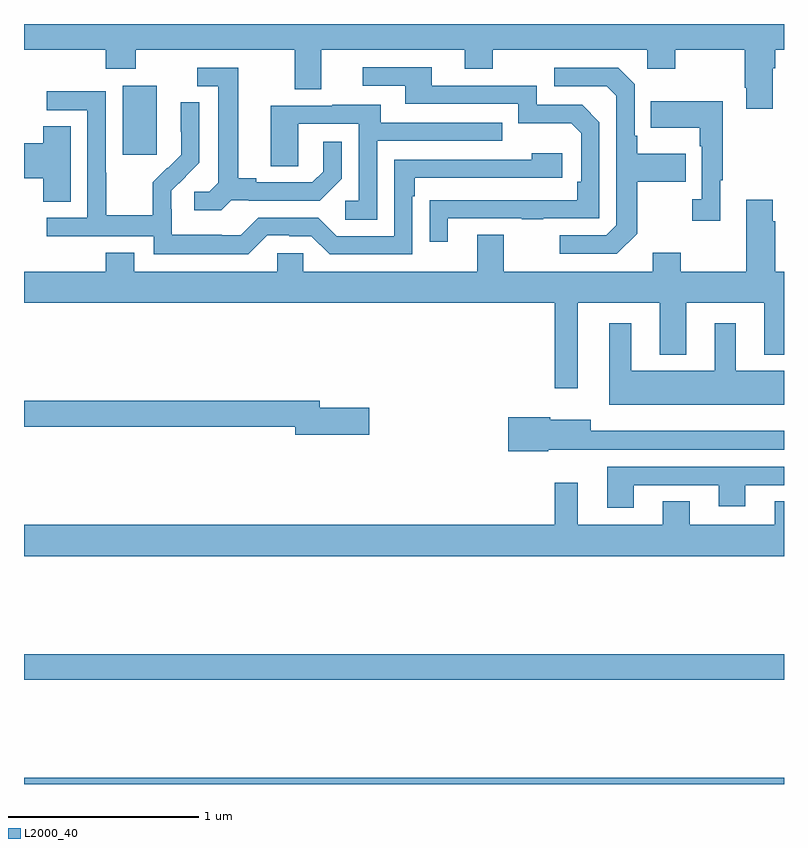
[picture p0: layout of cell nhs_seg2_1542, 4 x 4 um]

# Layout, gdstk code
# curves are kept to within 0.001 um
import gdstk
lib = gdstk.Library(unit=1e-6, precision=1e-09)
def R(c, l, rs):  # rectangles x0, y0, x1, y1
    for r in rs: c.add(gdstk.rectangle(r[:2], r[2:], *l))
def P(c, l, *ps):  # polygons
    for p in ps: c.add(gdstk.Polygon(p, *l))
L2000_40 = (2000, 40)

nhs_seg2_1542 = lib.new_cell('nhs_seg2_1542')
R(nhs_seg2_1542, L2000_40, [(191,615.8,195,615.832), (191,616.348,195,616.484), (191.519,619.113,191.698,619.474)])
P(nhs_seg2_1542, L2000_40, [(194.941,619.568),(194.954,619.568),(194.954,619.664),(195,619.664),(195,619.8),(191,619.8),(191,619.664),(191.429,619.664),(191.429,619.565),(191.589,619.565),(191.589,619.664),(192.425,619.664),(192.425,619.456),(192.565,619.456),(192.565,619.664),(193.319,619.664),(193.319,619.565),(193.467,619.565),(193.467,619.664),(194.28,619.664),(194.28,619.565),(194.427,619.565),(194.427,619.664),(194.794,619.664),(194.794,619.465),(194.801,619.465),(194.801,619.353),(194.941,619.353)],
  [(193.231,618.777),(193.621,618.777),(193.621,618.772),(193.733,618.772),(193.733,618.777),(194.028,618.777),(194.028,619.284),(193.938,619.374),(193.698,619.374),(193.698,619.476),(193.147,619.476),(193.147,619.572),(192.783,619.572),(192.783,619.476),(193.007,619.476),(193.007,619.38),(193.602,619.38),(193.602,619.277),(193.879,619.277),(193.932,619.224),(193.932,618.97),(193.912,618.97),(193.912,618.873),(193.135,618.872),(193.135,618.654),(193.231,618.654)],
  [(192.09,618.873),(192.184,618.873),(192.184,618.87),(192.556,618.87),(192.672,618.986),(192.672,619.18),(192.575,619.18),(192.575,619.023),(192.518,618.966),(192.223,618.966),(192.223,618.989),(192.127,618.989),(192.127,619.569),(191.913,619.569),(191.913,619.473),(192.023,619.473),(192.023,618.965),(191.976,618.918),(191.895,618.918),(191.895,618.821),(192.038,618.821)],
  [(194.227,618.697),(194.227,618.97),(194.483,618.97),(194.483,619.117),(194.227,619.117),(194.227,619.213),(194.214,619.213),(194.214,619.482),(194.127,619.569),(193.791,619.569),(193.791,619.473),(194.067,619.473),(194.118,619.422),(194.118,618.741),(194.064,618.687),(193.821,618.687),(193.821,618.591),(194.121,618.591)],
  [(192.279,618.687),(192.395,618.687),(192.395,618.684),(192.513,618.684),(192.609,618.588),(193.044,618.588),(193.044,618.893),(193.057,618.893),(193.057,618.99),(193.834,618.99),(193.834,619.12),(193.673,619.12),(193.673,619.086),(192.948,619.086),(192.948,618.684),(192.645,618.684),(192.549,618.78),(192.234,618.78),(192.141,618.687),(192.041,618.687),(192.041,618.691),(191.778,618.691),(191.778,618.825),(191.776,618.825),(191.776,618.922),(191.922,619.07),(191.922,619.388),(191.826,619.388),(191.826,619.234),(191.828,619.234),(191.828,619.112),(191.757,619.041),(191.754,619.044),(191.677,618.967),(191.677,618.793),(191.433,618.793),(191.433,619.016),(191.43,619.016),(191.43,619.446),(191.121,619.446),(191.121,619.347),(191.334,619.347),(191.334,618.78),(191.121,618.78),(191.121,618.684),(191.682,618.684),(191.682,618.587),(192.179,618.587)],
  [(194.665,618.977),(194.677,618.977),(194.677,619.393),(194.299,619.393),(194.299,619.253),(194.556,619.253),(194.556,619.157),(194.568,619.157),(194.568,618.878),(194.517,618.878),(194.517,618.765),(194.665,618.765)],
  [(192.858,619.185),(193.517,619.185),(193.517,619.281),(192.877,619.281),(192.877,619.375),(192.623,619.375),(192.623,619.371),(192.299,619.371),(192.299,619.051),(192.444,619.051),(192.444,619.275),(192.762,619.275),(192.762,618.87),(192.69,618.87),(192.69,618.769),(192.858,618.769)],
  [(191.245,619.262),(191.102,619.262),(191.102,619.172),(191,619.172),(191,618.989),(191.102,618.989),(191.102,618.865),(191.245,618.865)],
  [(193.915,618.332),(194.345,618.332),(194.345,618.059),(194.485,618.059),(194.485,618.332),(194.897,618.332),(194.897,618.059),(195,618.059),(195,618.496),(194.954,618.496),(194.954,618.761),(194.941,618.761),(194.941,618.874),(194.801,618.874),(194.801,618.496),(194.457,618.496),(194.457,618.595),(194.309,618.595),(194.309,618.496),(193.525,618.496),(193.525,618.691),(193.385,618.691),(193.385,618.496),(192.471,618.496),(192.471,618.594),(192.333,618.594),(192.333,618.496),(191.581,618.496),(191.581,618.595),(191.429,618.595),(191.429,618.496),(191,618.496),(191,618.332),(193.794,618.332),(193.794,617.883),(193.915,617.883)],
  [(195,617.974),(194.746,617.974),(194.746,618.226),(194.636,618.226),(194.636,617.974),(194.197,617.974),(194.197,618.226),(194.081,618.226),(194.081,617.795),(195,617.795)],
  [(192.817,617.78),(192.556,617.78),(192.556,617.816),(191,617.816),(191,617.68),(192.428,617.68),(192.428,617.638),(192.817,617.638)],
  [(193.76,617.558),(195,617.558),(195,617.659),(193.984,617.659),(193.984,617.716),(193.77,617.716),(193.77,617.729),(193.548,617.729),(193.548,617.551),(193.76,617.551)],
  [(194.209,617.373),(194.657,617.373),(194.657,617.261),(194.797,617.261),(194.797,617.373),(195,617.373),(195,617.469),(194.069,617.469),(194.069,617.253),(194.209,617.253)],
  [(195,617.288),(194.951,617.288),(194.951,617.164),(194.503,617.164),(194.503,617.288),(194.363,617.288),(194.363,617.164),(193.915,617.164),(193.915,617.386),(193.794,617.386),(193.794,617.164),(191,617.164),(191,617),(195,617)])

lib.write_gds('nhs_seg2_1542.gds')
